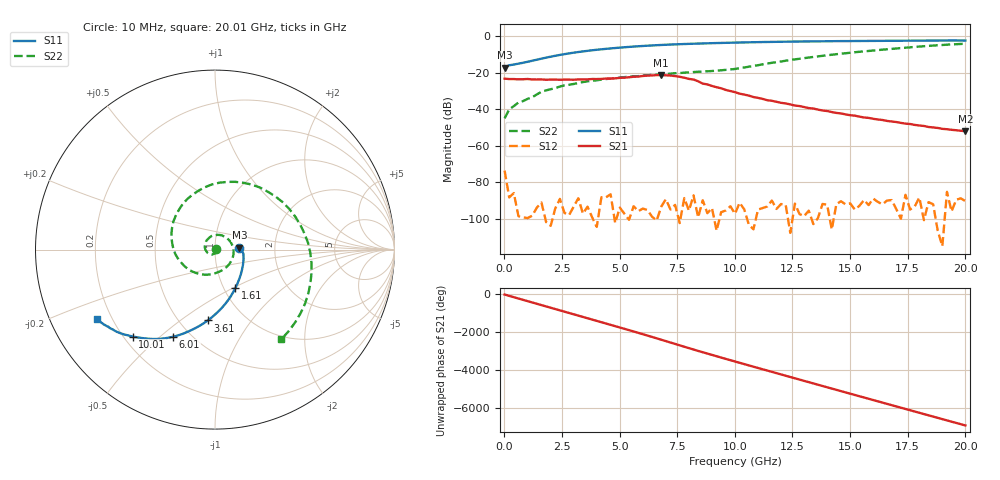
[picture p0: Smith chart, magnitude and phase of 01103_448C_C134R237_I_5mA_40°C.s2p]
!;Filter: kein Filter
!auto
!3/21/2019 9:27:39 AM
!3/21/2019 9:27:53 AM
!SP-Measurements Prober G4
!SP-Measurements Prober G4
!01103_448C
!134
!237
!12
!40
!-20
!0.00499992
!1.96
!0.64375220
!0.64375220
# Hz S  RI  R 50
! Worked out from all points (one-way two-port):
!   101 points, 10 MHz to 20.01 GHz, reference 50 ohm
!   highest |S21| = -21.33 dB at 6.81 GHz (marker M1); lowest = -52.0 dB at 20.01 GHz (marker M2)
!   lowest |S11| = -17.3 dB at 10 MHz (marker M3), VSWR 1.32, Z = 65.8 + j1.5 ohm
!   |S11| at or under -10 dB: start of sweep to 2.531 GHz
!   |S22| runs from -45.0 to -4.1 dB; largest |S21 - S12| = 0.086
!   S11 on the Smith chart (normalised r, x): 10 MHz: 1.32, +0.03; 1.61 GHz: 1.13, -0.52; 3.61 GHz: 0.68, -0.64; 6.01 GHz: 0.40, -0.55; 10.01 GHz: 0.24, -0.41; 20.01 GHz: 0.15, -0.27
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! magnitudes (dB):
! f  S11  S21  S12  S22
! 10 MHz  -17.3  -23.3  -73.6  -45.0
! 210 MHz  -15.9  -23.5  -88.3  -40.1
! 610 MHz  -15.1  -23.6  -98.6  -36.3
! 1.01 GHz  -14.0  -23.4  -99.6  -34.3
! 1.21 GHz  -13.5  -23.7  -98.3  -33.5
! 1.61 GHz  -12.3  -23.7  -91.1  -30.5
! 2.61 GHz  -9.8  -23.8  -96.8  -27.0
! 3.41 GHz  -8.3  -23.7  -97.2  -25.1
! 3.61 GHz  -8.0  -23.7  -93.4  -24.7
! 4.81 GHz  -6.5  -23.1  -102.4  -23.0
! 6.01 GHz  -5.4  -21.8  -94.4  -21.6
! 6.81 GHz  -4.8  -21.3  -93.3  -20.9
! 7.41 GHz  -4.5  -21.9  -92.4  -20.3
! 8.21 GHz  -4.1  -23.7  -87.2  -19.7
! 8.61 GHz  -4.0  -26.0  -89.9  -19.4
! 10.01 GHz  -3.5  -30.6  -97.3  -18.0
! 11.41 GHz  -3.2  -35.1  -93.3  -15.0
! 13.41 GHz  -2.8  -39.6  -102.9  -11.4
! 14.41 GHz  -2.7  -42.0  -92.0  -9.9
! 16.81 GHz  -2.5  -46.7  -89.8  -7.0
! 19.01 GHz  -2.4  -50.8  -115.0  -4.8
! 20.01 GHz  -2.4  -52.0  -90.3  -4.1
